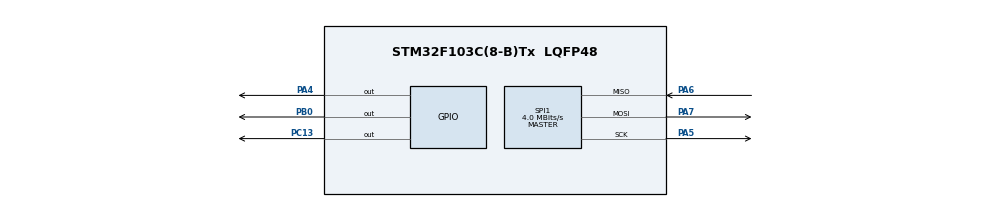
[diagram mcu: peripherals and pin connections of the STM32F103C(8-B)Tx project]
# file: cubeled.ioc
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Mcu.Family=STM32F1
Mcu.Name=STM32F103C(8-B)Tx
Mcu.Package=LQFP48
NVIC.PriorityGroup=NVIC_PRIORITYGROUP_4
PA13.Mode=Serial_Wire
PA13.Signal=SYS_JTMS-SWDIO
PA14.Mode=Serial_Wire
PA14.Signal=SYS_JTCK-SWCLK
PA4.Signal=GPIO_Output
PA5.Mode=Full_Duplex_Master
PA5.Signal=SPI1_SCK
PA6.Mode=Full_Duplex_Master
PA6.Signal=SPI1_MISO
PA7.Mode=Full_Duplex_Master
PA7.Signal=SPI1_MOSI
PB0.Signal=GPIO_Output
PC13-TAMPER-RTC.Signal=GPIO_Output
ProjectManager.HeapSize=0x200
ProjectManager.StackSize=0x400
ProjectManager.TargetToolchain=STM32CubeIDE
RCC.APB1Freq_Value=8000000
RCC.APB2Freq_Value=8000000
SPI1.CalculateBaudRate=4.0 MBits/s
SPI1.Direction=SPI_DIRECTION_2LINES
SPI1.Mode=SPI_MODE_MASTER
SPI1.VirtualType=VM_MASTER
board=custom

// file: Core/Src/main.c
/* USER CODE BEGIN Header */
/**
  ******************************************************************************
  * @file           : main.c
  * @brief          : Main program body
  ******************************************************************************
  * @attention
  *
  * Copyright (c) 2026 STMicroelectronics.
  * All rights reserved.
  *
  * This software is licensed under terms that can be found in the LICENSE file
  * in the root directory of this software component.
  * If no LICENSE file comes with this software, it is provided AS-IS.
  *
  ******************************************************************************
  */
/* USER CODE END Header */
#include "main.h"

/* USER CODE BEGIN Includes */
#include "RF24_STM32.h"
/* USER CODE END Includes */

/* USER CODE BEGIN PD */

/*
 * ── RF24 pin assignment ──────────────────────────────────────────────────
 * Adjust these to match your wiring.
 *
 * nRF24L01+ | Blue Pill
 * ──────────┼──────────────────────────────────────────
 * VCC       | 3.3 V  (add 100 µF + 100 nF caps between VCC/GND!)
 * GND       | GND
 * CE        | PB0
 * CSN       | PA4
 * SCK       | PA5   (SPI1_SCK — configure SPI1 in CubeMX)
 * MOSI      | PA7   (SPI1_MOSI)
 * MISO      | PA6   (SPI1_MISO)
 * IRQ       | not connected (polling mode)
 *
 * Node role: change RF24_ROLE to 0 (TX) or 1 (RX) on each board.
 */
#define RF24_CE_PORT   GPIOB
#define RF24_CE_PIN    GPIO_PIN_0
#define RF24_CSN_PORT  GPIOA
#define RF24_CSN_PIN   GPIO_PIN_4

#define RF24_ROLE      0   /* 0 = transmitter, 1 = receiver */

/* USER CODE END PD */

SPI_HandleTypeDef hspi1;

/* USER CODE BEGIN PV */
/* hspi1 is declared automatically by CubeMX when SPI1 is enabled */
static RF24_t radio;
static const uint8_t address[][6] = {"TXnod", "RXnod"};
/* USER CODE END PV */

void SystemClock_Config(void);
static void MX_GPIO_Init(void);
static void MX_SPI1_Init(void);

int main(void)
{

  /* MCU Configuration--------------------------------------------------------*/

  /* Reset of all peripherals, Initializes the Flash interface and the Systick. */
  HAL_Init();

  /* Configure the system clock */
  SystemClock_Config();

  /* Initialize all configured peripherals */
  MX_GPIO_Init();
  MX_SPI1_Init();
  /* USER CODE BEGIN 2 */

  /* ── RF24 initialisation ───────────────────────────────────────────── */
  RF24_init(&radio, &hspi1,
            RF24_CE_PORT,  RF24_CE_PIN,
            RF24_CSN_PORT, RF24_CSN_PIN);

  if (!RF24_begin(&radio)) {
    /* Radio not found — blink fast and stall */
    while (1) {
      HAL_GPIO_TogglePin(GPIOC, GPIO_PIN_13);
      HAL_Delay(100);
    }
  }

  RF24_setChannel(&radio, 100);               /* channel 100 = 2.500 GHz  */
  RF24_setPayloadSize(&radio, 4);             /* 4-byte payload           */
  RF24_setPALevel(&radio, RF24_PA_LOW, 1);    /* low power for bench test */
  RF24_setDataRate(&radio, RF24_1MBPS);
  RF24_setCRCLength(&radio, RF24_CRC_16);
  RF24_setAutoAck(&radio, 1);
  RF24_setRetries(&radio, 5, 15);             /* 1500 µs, 15 retries      */

#if RF24_ROLE == 0  /* ── TX node ── */
  RF24_openWritingPipe(&radio, address[0]);
  RF24_openReadingPipe(&radio, 1, address[1]);
  RF24_stopListening(&radio);
#else               /* ── RX node ── */
  RF24_openWritingPipe(&radio, address[1]);
  RF24_openReadingPipe(&radio, 1, address[0]);
  RF24_startListening(&radio);
#endif

  /* USER CODE END 2 */

  /* Infinite loop */
  while (1)
  {

  }
}

void SystemClock_Config(void)
{
  RCC_OscInitTypeDef RCC_OscInitStruct = {0};
  RCC_ClkInitTypeDef RCC_ClkInitStruct = {0};

  /** Initializes the RCC Oscillators according to the specified parameters
  * in the RCC_OscInitTypeDef structure.
  */
  RCC_OscInitStruct.OscillatorType = RCC_OSCILLATORTYPE_HSI;
  RCC_OscInitStruct.HSIState = RCC_HSI_ON;
  RCC_OscInitStruct.HSICalibrationValue = RCC_HSICALIBRATION_DEFAULT;
  RCC_OscInitStruct.PLL.PLLState = RCC_PLL_NONE;
  if (HAL_RCC_OscConfig(&RCC_OscInitStruct) != HAL_OK)
  {
    Error_Handler();
  }

  /** Initializes the CPU, AHB and APB buses clocks
  */
  RCC_ClkInitStruct.ClockType = RCC_CLOCKTYPE_HCLK|RCC_CLOCKTYPE_SYSCLK
                              |RCC_CLOCKTYPE_PCLK1|RCC_CLOCKTYPE_PCLK2;
  RCC_ClkInitStruct.SYSCLKSource = RCC_SYSCLKSOURCE_HSI;
  RCC_ClkInitStruct.AHBCLKDivider = RCC_SYSCLK_DIV1;
  RCC_ClkInitStruct.APB1CLKDivider = RCC_HCLK_DIV1;
  RCC_ClkInitStruct.APB2CLKDivider = RCC_HCLK_DIV1;

  if (HAL_RCC_ClockConfig(&RCC_ClkInitStruct, FLASH_LATENCY_0) != HAL_OK)
  {
    Error_Handler();
  }
}

static void MX_SPI1_Init(void)
{

  /* SPI1 parameter configuration*/
  hspi1.Instance = SPI1;
  hspi1.Init.Mode = SPI_MODE_MASTER;
  hspi1.Init.Direction = SPI_DIRECTION_2LINES;
  hspi1.Init.DataSize = SPI_DATASIZE_8BIT;
  hspi1.Init.CLKPolarity = SPI_POLARITY_LOW;
  hspi1.Init.CLKPhase = SPI_PHASE_1EDGE;
  hspi1.Init.NSS = SPI_NSS_SOFT;
  hspi1.Init.BaudRatePrescaler = SPI_BAUDRATEPRESCALER_2;
  hspi1.Init.FirstBit = SPI_FIRSTBIT_MSB;
  hspi1.Init.TIMode = SPI_TIMODE_DISABLE;
  hspi1.Init.CRCCalculation = SPI_CRCCALCULATION_DISABLE;
  hspi1.Init.CRCPolynomial = 10;
  if (HAL_SPI_Init(&hspi1) != HAL_OK)
  {
    Error_Handler();
  }

}

static void MX_GPIO_Init(void)
{
  GPIO_InitTypeDef GPIO_InitStruct = {0};

  /* GPIO Ports Clock Enable */
  __HAL_RCC_GPIOC_CLK_ENABLE();
  __HAL_RCC_GPIOA_CLK_ENABLE();
  __HAL_RCC_GPIOB_CLK_ENABLE();

  /*Configure GPIO pin Output Level */
  HAL_GPIO_WritePin(GPIOC, GPIO_PIN_13, GPIO_PIN_RESET);

  /*Configure GPIO pin Output Level */
  HAL_GPIO_WritePin(GPIOA, GPIO_PIN_4, GPIO_PIN_RESET);

  /*Configure GPIO pin Output Level */
  HAL_GPIO_WritePin(GPIOB, GPIO_PIN_0, GPIO_PIN_RESET);

  /*Configure GPIO pin : PC13 */
  GPIO_InitStruct.Pin = GPIO_PIN_13;
  GPIO_InitStruct.Mode = GPIO_MODE_OUTPUT_PP;
  GPIO_InitStruct.Pull = GPIO_NOPULL;
  GPIO_InitStruct.Speed = GPIO_SPEED_FREQ_LOW;
  HAL_GPIO_Init(GPIOC, &GPIO_InitStruct);

  /*Configure GPIO pin : PA4 */
  GPIO_InitStruct.Pin = GPIO_PIN_4;
  GPIO_InitStruct.Mode = GPIO_MODE_OUTPUT_PP;
  GPIO_InitStruct.Pull = GPIO_NOPULL;
  GPIO_InitStruct.Speed = GPIO_SPEED_FREQ_LOW;
  HAL_GPIO_Init(GPIOA, &GPIO_InitStruct);

  /*Configure GPIO pin : PB0 */
  GPIO_InitStruct.Pin = GPIO_PIN_0;
  GPIO_InitStruct.Mode = GPIO_MODE_OUTPUT_PP;
  GPIO_InitStruct.Pull = GPIO_NOPULL;
  GPIO_InitStruct.Speed = GPIO_SPEED_FREQ_LOW;
  HAL_GPIO_Init(GPIOB, &GPIO_InitStruct);

}

void Error_Handler(void)
{
  __disable_irq();
  while (1)
  {
  }
}
